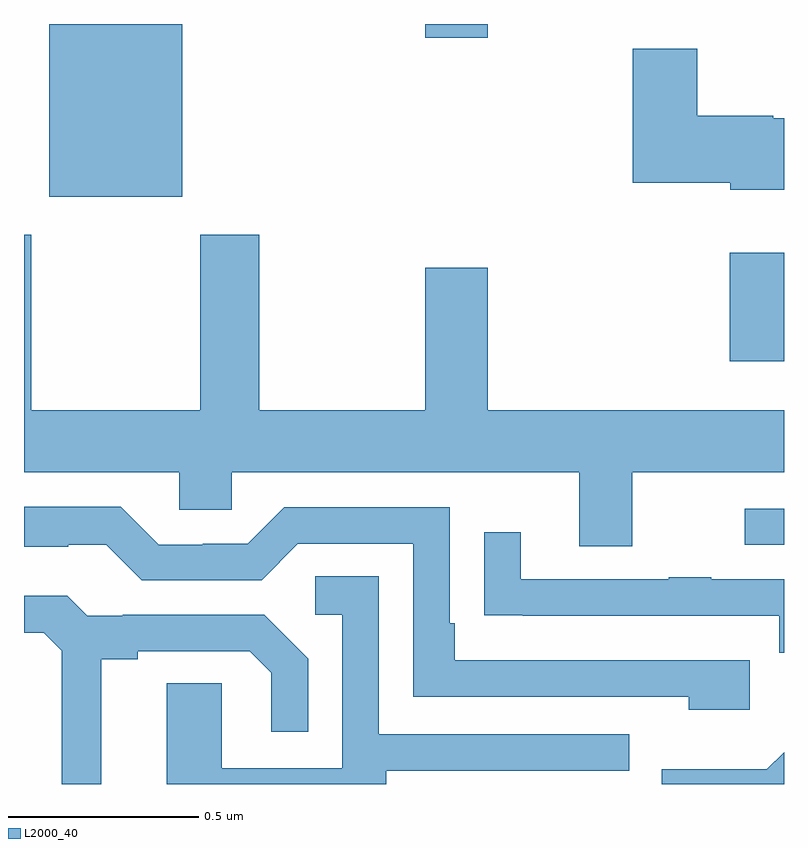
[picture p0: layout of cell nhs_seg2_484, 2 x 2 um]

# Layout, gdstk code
import gdstk
lib = gdstk.Library(unit=1e-6, precision=1e-09)
def R(c, l, rs):  # rectangles x0, y0, x1, y1
    for r in rs: c.add(gdstk.rectangle(r[:2], r[2:], *l))
def P(c, l, *ps):  # polygons
    for p in ps: c.add(gdstk.Polygon(p, *l))
L2000_40 = (2000, 40)

nhs_seg2_484 = lib.new_cell('nhs_seg2_484')
R(nhs_seg2_484, L2000_40, [(117.897,663.429,118,663.525), (117.857,663.912,118,664.198), (116.066,664.346,116.416,664.8), (117.056,664.764,117.22,664.8)])
P(nhs_seg2_484, L2000_40, [(118,664.552),(117.972,664.552),(117.972,664.558),(117.772,664.558),(117.772,664.735),(117.602,664.735),(117.602,664.382),(117.858,664.382),(117.858,664.364),(118,664.364)],
  [(117.601,663.62),(118,663.62),(118,663.784),(117.22,663.784),(117.22,664.159),(117.056,664.159),(117.056,663.784),(116.619,663.784),(116.619,664.246),(116.464,664.246),(116.464,663.784),(116.019,663.784),(116.019,664.246),(116,664.246),(116,663.62),(116.409,663.62),(116.409,663.522),(116.547,663.522),(116.547,663.62),(117.461,663.62),(117.461,663.426),(117.601,663.426)],
  [(117.91,663.126),(117.133,663.126),(117.133,663.223),(117.12,663.223),(117.12,663.528),(116.685,663.528),(116.589,663.432),(116.471,663.432),(116.471,663.429),(116.355,663.429),(116.255,663.529),(116,663.529),(116,663.425),(116.117,663.425),(116.117,663.429),(116.217,663.429),(116.31,663.336),(116.625,663.336),(116.721,663.432),(117.024,663.432),(117.024,663.03),(117.749,663.03),(117.749,662.996),(117.91,662.996)],
  [(118,663.339),(117.809,663.339),(117.809,663.344),(117.697,663.344),(117.697,663.339),(117.307,663.339),(117.307,663.463),(117.211,663.463),(117.211,663.244),(117.313,663.244),(117.313,663.243),(117.988,663.243),(117.988,663.146),(118,663.146)],
  [(116.953,662.835),(117.593,662.835),(117.593,662.931),(116.934,662.931),(116.934,663.347),(116.766,663.347),(116.766,663.246),(116.838,663.246),(116.838,662.841),(116.52,662.841),(116.52,663.065),(116.375,663.065),(116.375,662.8),(116.953,662.8)],
  [(116.203,663.128),(116.299,663.128),(116.299,663.15),(116.594,663.15),(116.651,663.093),(116.651,662.937),(116.748,662.937),(116.748,663.13),(116.632,663.246),(116.26,663.246),(116.26,663.243),(116.166,663.243),(116.114,663.295),(116,663.295),(116,663.198),(116.052,663.198),(116.099,663.151),(116.099,662.8),(116.203,662.8)],
  [(118,662.884),(117.955,662.839),(117.678,662.839),(117.678,662.8),(118,662.8)])

lib.write_gds('nhs_seg2_484.gds')
